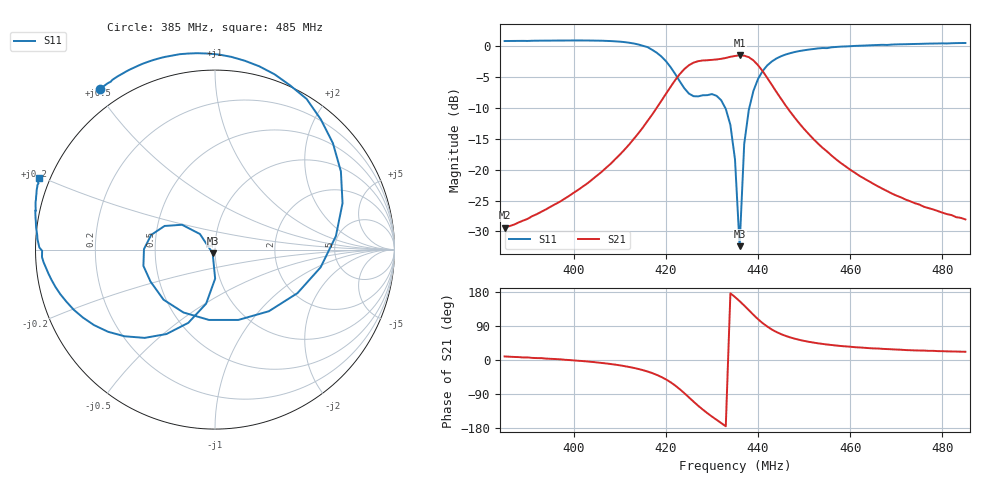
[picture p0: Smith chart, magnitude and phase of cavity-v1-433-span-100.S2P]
!File created by NanoVNA
# Hz S RI R 50
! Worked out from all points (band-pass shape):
!   101 points, 385 MHz to 485 MHz, reference 50 ohm
!   highest |S21| = -1.49 dB at 436 MHz (marker M1); lowest = -29.4 dB at 385 MHz (marker M2)
!   |S21| within 3 dB of the highest: 423.1 MHz to 441.4 MHz (18.34 MHz wide, 4.24 % of centre)
!   lowest |S11| = -32.4 dB at 436 MHz (marker M3), VSWR 1.05, Z = 48.7 - j1.96 ohm
!   |S11| at or under -10 dB: 432.9 MHz to 438.1 MHz (5.217 MHz wide, 1.2 % of centre)
!   S12 and S22 are empty: the file has one direction only
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3.85e8  -0.6409 0.8933  0.0334 0.00553  0 0  0 0
4.02e8  -0.3457 1.056  0.0731 -0.00363  0 0  0 0
4.08e8  -0.099 1.094  0.1096 -0.0205  0 0  0 0
4.13e8  0.2463 1.021  0.1652 -0.0626  0 0  0 0
4.16e8  0.5102 0.8396  0.2134 -0.1247  0 0  0 0
4.19e8  0.7014 0.4358  0.256 -0.2528  0 0  0 0
4.22e8  0.5885 -0.0986  0.2058 -0.4882  0 0  0 0
4.25e8  0.1301 -0.3918  -0.1049 -0.6924  0 0  0 0
4.28e8  -0.2868 -0.279  -0.5001 -0.5796  0 0  0 0
4.3e8  -0.3988 -0.0909  -0.6656 -0.3954  0 0  0 0
4.33e8  -0.2809 0.1317  -0.7988 -0.071  0 0  0 0
4.34e8  -0.1838 0.1384  -0.8175 0.057  0 0  0 0
4.35e8  -0.0841 0.0869  -0.8081 0.1991  0 0  0 0
4.36e8  -0.0131 -0.0202  -0.7657 0.3512  0 0  0 0
4.37e8  0.00083 -0.1617  -0.6743 0.495  0 0  0 0
4.39e8  -0.1486 -0.408  -0.3745 0.6684  0 0  0 0
4.41e8  -0.3921 -0.4919  -0.0793 0.6222  0 0  0 0
4.43e8  -0.5962 -0.4577  0.0816 0.4784  0 0  0 0
4.47e8  -0.8277 -0.2903  0.1487 0.2532  0 0  0 0
4.52e8  -0.942 -0.1008  0.123 0.1274  0 0  0 0
4.69e8  -0.9997 0.2443  0.0565 0.0305  0 0  0 0
4.85e8  -0.9816 0.3989  0.0368 0.0146  0 0  0 0
